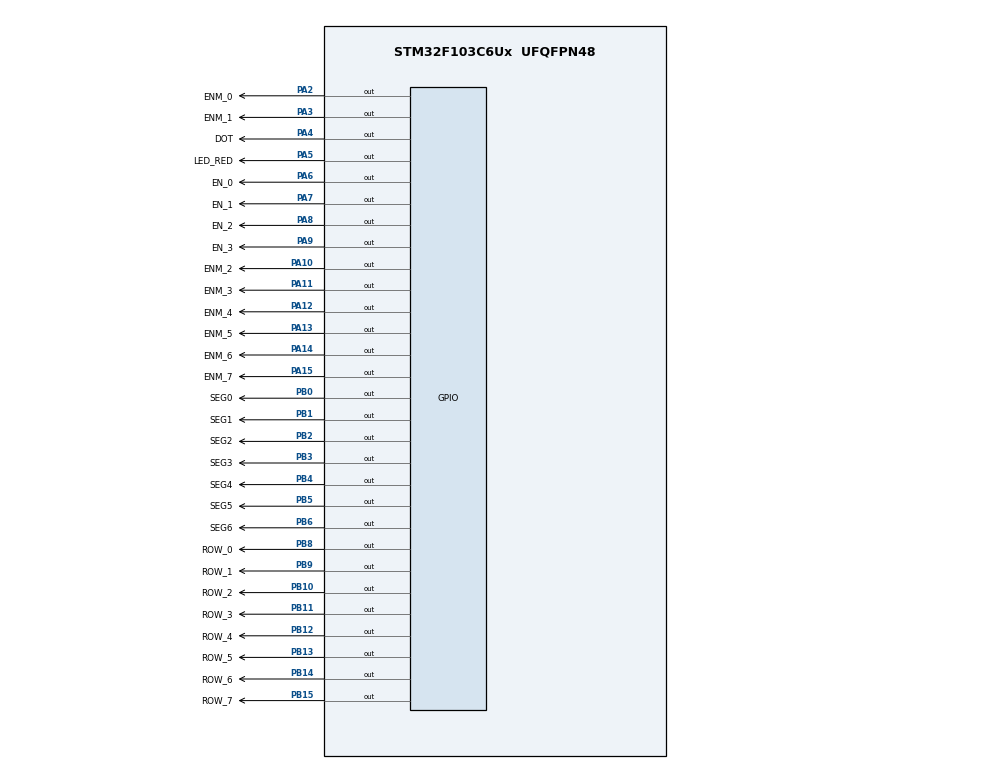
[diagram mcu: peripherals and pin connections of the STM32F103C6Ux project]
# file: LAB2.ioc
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Mcu.Family=STM32F1
Mcu.Name=STM32F103C6Ux
Mcu.Package=UFQFPN48
NVIC.PriorityGroup=NVIC_PRIORITYGROUP_4
NVIC.TIM2_IRQn=true\:0\:0\:false\:false\:true\:true\:true\:true
PA10.GPIO_Label=ENM_2
PA10.Signal=GPIO_Output
PA11.GPIO_Label=ENM_3
PA11.Signal=GPIO_Output
PA12.GPIO_Label=ENM_4
PA12.Signal=GPIO_Output
PA13.GPIO_Label=ENM_5
PA13.Signal=GPIO_Output
PA14.GPIO_Label=ENM_6
PA14.Signal=GPIO_Output
PA15.GPIO_Label=ENM_7
PA15.Signal=GPIO_Output
PA2.GPIO_Label=ENM_0
PA2.Signal=GPIO_Output
PA3.GPIO_Label=ENM_1
PA3.Signal=GPIO_Output
PA4.GPIO_Label=DOT
PA4.Signal=GPIO_Output
PA5.GPIO_Label=LED_RED
PA5.Signal=GPIO_Output
PA6.GPIO_Label=EN_0
PA6.Signal=GPIO_Output
PA7.GPIO_Label=EN_1
PA7.Signal=GPIO_Output
PA8.GPIO_Label=EN_2
PA8.Signal=GPIO_Output
PA9.GPIO_Label=EN_3
PA9.Signal=GPIO_Output
PB0.GPIO_Label=SEG0
PB0.Signal=GPIO_Output
PB1.GPIO_Label=SEG1
PB1.Signal=GPIO_Output
PB10.GPIO_Label=ROW_2
PB10.Signal=GPIO_Output
PB11.GPIO_Label=ROW_3
PB11.Signal=GPIO_Output
PB12.GPIO_Label=ROW_4
PB12.Signal=GPIO_Output
PB13.GPIO_Label=ROW_5
PB13.Signal=GPIO_Output
PB14.GPIO_Label=ROW_6
PB14.Signal=GPIO_Output
PB15.GPIO_Label=ROW_7
PB15.Signal=GPIO_Output
PB2.GPIO_Label=SEG2
PB2.Signal=GPIO_Output
PB3.GPIO_Label=SEG3
PB3.Signal=GPIO_Output
PB4.GPIO_Label=SEG4
PB4.Signal=GPIO_Output
PB5.GPIO_Label=SEG5
PB5.Signal=GPIO_Output
PB6.GPIO_Label=SEG6
PB6.Signal=GPIO_Output
PB8.GPIO_Label=ROW_0
PB8.Signal=GPIO_Output
PB9.GPIO_Label=ROW_1
PB9.Signal=GPIO_Output
ProjectManager.HeapSize=0x200
ProjectManager.StackSize=0x400
ProjectManager.TargetToolchain=STM32CubeIDE
RCC.APB1Freq_Value=8000000
RCC.APB2Freq_Value=8000000
TIM2.Period=9
TIM2.Prescaler=7999
VP_SYS_VS_ND.Mode=No_Debug
VP_TIM2_VS_ClockSourceINT.Mode=Internal
board=custom

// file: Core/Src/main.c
/* USER CODE BEGIN Header */
/**
  ******************************************************************************
  * @file           : main.c
  * @brief          : Main program body
  ******************************************************************************
  * @attention
  *
  * Copyright (c) 2025 STMicroelectronics.
  * All rights reserved.
  *
  * This software is licensed under terms that can be found in the LICENSE file
  * in the root directory of this software component.
  * If no LICENSE file comes with this software, it is provided AS-IS.
  *
  ******************************************************************************
  */
/* USER CODE END Header */
#include "main.h"
#include "led7SEG_display.h"
#include "software_timer.h"

/* USER CODE BEGIN PD */
#define DURATION_0 100
#define DURATION_1 50

int led_buffer [4] = {1 , 2 };
/* USER CODE END PD */

TIM_HandleTypeDef htim2;

void SystemClock_Config(void);
static void MX_GPIO_Init(void);
static void MX_TIM2_Init(void);

int main(void)
{

  /* MCU Configuration--------------------------------------------------------*/

  /* Reset of all peripherals, Initializes the Flash interface and the Systick. */
  HAL_Init();

  /* Configure the system clock */
  SystemClock_Config();

  /* Initialize all configured peripherals */
  MX_GPIO_Init();
  MX_TIM2_Init();
  /* USER CODE BEGIN 2 */
  HAL_TIM_Base_Start_IT(&htim2);
  /* USER CODE END 2 */

  /* Infinite loop */
  /* USER CODE BEGIN WHILE */
  while (1)
    {
  	  display7SEG(led_buffer[led_index]);
  	  if (timer0_flag == 1) {
  		  setTimer0(DURATION_0);
  		  HAL_GPIO_TogglePin(LED_RED_GPIO_Port, LED_RED_Pin);
  	  }
  	  if (timer1_flag == 1) {
  		  setTimer1(DURATION_1);
  		  switch (led_index) {
  		  case 0:
  			  led_index = 1;
  			  HAL_GPIO_WritePin(EN_0_GPIO_Port, EN_0_Pin, GPIO_PIN_SET);
  			  HAL_GPIO_WritePin(EN_1_GPIO_Port, EN_1_Pin, GPIO_PIN_RESET);
  			  break;
  		  case 1:
  			  led_index = 0;
  			  HAL_GPIO_WritePin(EN_0_GPIO_Port, EN_0_Pin, GPIO_PIN_RESET);
  			  HAL_GPIO_WritePin(EN_1_GPIO_Port, EN_1_Pin, GPIO_PIN_SET);
  			  break;
  		  default:
  			  break;
  		  }
  	  }
    /* USER CODE END WHILE */

    }
}

void SystemClock_Config(void)
{
  RCC_OscInitTypeDef RCC_OscInitStruct = {0};
  RCC_ClkInitTypeDef RCC_ClkInitStruct = {0};

  /** Initializes the RCC Oscillators according to the specified parameters
  * in the RCC_OscInitTypeDef structure.
  */
  RCC_OscInitStruct.OscillatorType = RCC_OSCILLATORTYPE_HSI;
  RCC_OscInitStruct.HSIState = RCC_HSI_ON;
  RCC_OscInitStruct.HSICalibrationValue = RCC_HSICALIBRATION_DEFAULT;
  RCC_OscInitStruct.PLL.PLLState = RCC_PLL_NONE;
  if (HAL_RCC_OscConfig(&RCC_OscInitStruct) != HAL_OK)
  {
    Error_Handler();
  }

  /** Initializes the CPU, AHB and APB buses clocks
  */
  RCC_ClkInitStruct.ClockType = RCC_CLOCKTYPE_HCLK|RCC_CLOCKTYPE_SYSCLK
                              |RCC_CLOCKTYPE_PCLK1|RCC_CLOCKTYPE_PCLK2;
  RCC_ClkInitStruct.SYSCLKSource = RCC_SYSCLKSOURCE_HSI;
  RCC_ClkInitStruct.AHBCLKDivider = RCC_SYSCLK_DIV1;
  RCC_ClkInitStruct.APB1CLKDivider = RCC_HCLK_DIV1;
  RCC_ClkInitStruct.APB2CLKDivider = RCC_HCLK_DIV1;

  if (HAL_RCC_ClockConfig(&RCC_ClkInitStruct, FLASH_LATENCY_0) != HAL_OK)
  {
    Error_Handler();
  }
}

static void MX_TIM2_Init(void)
{

  TIM_ClockConfigTypeDef sClockSourceConfig = {0};
  TIM_MasterConfigTypeDef sMasterConfig = {0};

  htim2.Instance = TIM2;
  htim2.Init.Prescaler = 7999;
  htim2.Init.CounterMode = TIM_COUNTERMODE_UP;
  htim2.Init.Period = 9;
  htim2.Init.ClockDivision = TIM_CLOCKDIVISION_DIV1;
  htim2.Init.AutoReloadPreload = TIM_AUTORELOAD_PRELOAD_DISABLE;
  if (HAL_TIM_Base_Init(&htim2) != HAL_OK)
  {
    Error_Handler();
  }
  sClockSourceConfig.ClockSource = TIM_CLOCKSOURCE_INTERNAL;
  if (HAL_TIM_ConfigClockSource(&htim2, &sClockSourceConfig) != HAL_OK)
  {
    Error_Handler();
  }
  sMasterConfig.MasterOutputTrigger = TIM_TRGO_RESET;
  sMasterConfig.MasterSlaveMode = TIM_MASTERSLAVEMODE_DISABLE;
  if (HAL_TIMEx_MasterConfigSynchronization(&htim2, &sMasterConfig) != HAL_OK)
  {
    Error_Handler();
  }

}

static void MX_GPIO_Init(void)
{
  GPIO_InitTypeDef GPIO_InitStruct = {0};

  /* GPIO Ports Clock Enable */
  __HAL_RCC_GPIOA_CLK_ENABLE();
  __HAL_RCC_GPIOB_CLK_ENABLE();

  /*Configure GPIO pin Output Level */
  HAL_GPIO_WritePin(GPIOA, LED_RED_Pin|EN_0_Pin|EN_1_Pin, GPIO_PIN_RESET);

  /*Configure GPIO pin Output Level */
  HAL_GPIO_WritePin(GPIOB, SEG0_Pin|SEG1_Pin|SEG2_Pin|SEG3_Pin
                          |SEG4_Pin|SEG5_Pin|SEG6_Pin, GPIO_PIN_RESET);

  /*Configure GPIO pins : LED_RED_Pin EN_0_Pin EN_1_Pin */
  GPIO_InitStruct.Pin = LED_RED_Pin|EN_0_Pin|EN_1_Pin;
  GPIO_InitStruct.Mode = GPIO_MODE_OUTPUT_PP;
  GPIO_InitStruct.Pull = GPIO_NOPULL;
  GPIO_InitStruct.Speed = GPIO_SPEED_FREQ_LOW;
  HAL_GPIO_Init(GPIOA, &GPIO_InitStruct);

  /*Configure GPIO pins : SEG0_Pin SEG1_Pin SEG2_Pin SEG3_Pin
                           SEG4_Pin SEG5_Pin SEG6_Pin */
  GPIO_InitStruct.Pin = SEG0_Pin|SEG1_Pin|SEG2_Pin|SEG3_Pin
                          |SEG4_Pin|SEG5_Pin|SEG6_Pin;
  GPIO_InitStruct.Mode = GPIO_MODE_OUTPUT_PP;
  GPIO_InitStruct.Pull = GPIO_NOPULL;
  GPIO_InitStruct.Speed = GPIO_SPEED_FREQ_LOW;
  HAL_GPIO_Init(GPIOB, &GPIO_InitStruct);

}

/* USER CODE BEGIN 4 */
int counter = 0;
int led_index = 0;

void HAL_TIM_PeriodElapsedCallback(TIM_HandleTypeDef *htim)
{
    runTimer();
}
/* USER CODE END 4 */

void Error_Handler(void)
{
  __disable_irq();
  while (1)
  {
  }
}
